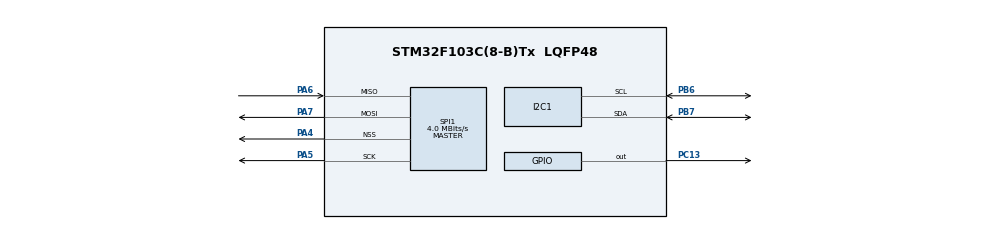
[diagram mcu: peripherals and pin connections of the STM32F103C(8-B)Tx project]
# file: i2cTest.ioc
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Mcu.Family=STM32F1
Mcu.Name=STM32F103C(8-B)Tx
Mcu.Package=LQFP48
NVIC.PriorityGroup=NVIC_PRIORITYGROUP_4
PA4.Mode=NSS_Signal_Hard_Output
PA4.Signal=SPI1_NSS
PA5.Mode=Full_Duplex_Master
PA5.Signal=SPI1_SCK
PA6.Mode=Full_Duplex_Master
PA6.Signal=SPI1_MISO
PA7.Mode=Full_Duplex_Master
PA7.Signal=SPI1_MOSI
PB6.Mode=I2C
PB6.Signal=I2C1_SCL
PB7.Mode=I2C
PB7.Signal=I2C1_SDA
PC13-TAMPER-RTC.Signal=GPIO_Output
ProjectManager.HeapSize=0x200
ProjectManager.StackSize=0x400
ProjectManager.TargetToolchain=STM32CubeIDE
RCC.APB1Freq_Value=8000000
RCC.APB2Freq_Value=8000000
SPI1.CalculateBaudRate=4.0 MBits/s
SPI1.Direction=SPI_DIRECTION_2LINES
SPI1.Mode=SPI_MODE_MASTER
SPI1.VirtualNSS=VM_NSSHARD
SPI1.VirtualType=VM_MASTER
VP_SYS_VS_ND.Mode=No_Debug
board=custom

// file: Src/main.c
/* USER CODE BEGIN Header */
/**
  ******************************************************************************
  * @file           : main.c
  * @brief          : Main program body
  ******************************************************************************
  * @attention
  *
  * Copyright (c) 2023 STMicroelectronics.
  * All rights reserved.
  *
  * This software is licensed under terms that can be found in the LICENSE file
  * in the root directory of this software component.
  * If no LICENSE file comes with this software, it is provided AS-IS.
  *
  ******************************************************************************
  */
/* USER CODE END Header */
#include "main.h"

/* USER CODE BEGIN Includes */
#include "ssd1306_fonts.h"
#include "ssd1306_tests.h"
#include "ssd1306.h"
#include <stdlib.h>
#include <stdio.h>
/* USER CODE END Includes */

I2C_HandleTypeDef hi2c1;

SPI_HandleTypeDef hspi1;

void SystemClock_Config(void);
static void MX_GPIO_Init(void);
static void MX_I2C1_Init(void);
static void MX_SPI1_Init(void);

int main(void)
{

  /* MCU Configuration--------------------------------------------------------*/

  /* Reset of all peripherals, Initializes the Flash interface and the Systick. */
  HAL_Init();

  /* Configure the system clock */
  SystemClock_Config();

  /* Initialize all configured peripherals */
  MX_GPIO_Init();
  MX_I2C1_Init();
  MX_SPI1_Init();
  /* USER CODE BEGIN 2 */
  char welcoming[] = "Welcome";
  ssd1306_Init();
  ssd1306_Fill(0x01);
  ssd1306_SetCursor(25, 20);
  ssd1306_WriteString(welcoming, Font_11x18, 0x00);
  ssd1306_UpdateScreen();
  HAL_Delay(1500);
  ssd1306_Fill(0x00);
  ssd1306_UpdateScreen();

  uint8_t getTemp = 0xE3;
  uint8_t *getTempP = &getTemp;

  uint8_t writeToReg = 0xE6;
  uint8_t *writeToRegP = &writeToReg;

  uint8_t readFromReg = 0xE7;
  uint8_t *readFromRegP = &readFromReg;

  uint8_t temp = 99;
  uint8_t *tempP = &temp;

  uint8_t restartSensor = 0xFE;
  uint8_t *restartSensorP = &restartSensor;

  char tempString[20];

  /* USER CODE END 2 */

  /* Infinite loop */
  while (1)
  {

  }
}

void SystemClock_Config(void)
{
  RCC_OscInitTypeDef RCC_OscInitStruct = {0};
  RCC_ClkInitTypeDef RCC_ClkInitStruct = {0};

  /** Initializes the RCC Oscillators according to the specified parameters
  * in the RCC_OscInitTypeDef structure.
  */
  RCC_OscInitStruct.OscillatorType = RCC_OSCILLATORTYPE_HSI;
  RCC_OscInitStruct.HSIState = RCC_HSI_ON;
  RCC_OscInitStruct.HSICalibrationValue = RCC_HSICALIBRATION_DEFAULT;
  RCC_OscInitStruct.PLL.PLLState = RCC_PLL_NONE;
  if (HAL_RCC_OscConfig(&RCC_OscInitStruct) != HAL_OK)
  {
    Error_Handler();
  }

  /** Initializes the CPU, AHB and APB buses clocks
  */
  RCC_ClkInitStruct.ClockType = RCC_CLOCKTYPE_HCLK|RCC_CLOCKTYPE_SYSCLK
                              |RCC_CLOCKTYPE_PCLK1|RCC_CLOCKTYPE_PCLK2;
  RCC_ClkInitStruct.SYSCLKSource = RCC_SYSCLKSOURCE_HSI;
  RCC_ClkInitStruct.AHBCLKDivider = RCC_SYSCLK_DIV1;
  RCC_ClkInitStruct.APB1CLKDivider = RCC_HCLK_DIV1;
  RCC_ClkInitStruct.APB2CLKDivider = RCC_HCLK_DIV1;

  if (HAL_RCC_ClockConfig(&RCC_ClkInitStruct, FLASH_LATENCY_0) != HAL_OK)
  {
    Error_Handler();
  }
}

static void MX_I2C1_Init(void)
{

  hi2c1.Instance = I2C1;
  hi2c1.Init.ClockSpeed = 100000;
  hi2c1.Init.DutyCycle = I2C_DUTYCYCLE_2;
  hi2c1.Init.OwnAddress1 = 0;
  hi2c1.Init.AddressingMode = I2C_ADDRESSINGMODE_7BIT;
  hi2c1.Init.DualAddressMode = I2C_DUALADDRESS_DISABLE;
  hi2c1.Init.OwnAddress2 = 0;
  hi2c1.Init.GeneralCallMode = I2C_GENERALCALL_DISABLE;
  hi2c1.Init.NoStretchMode = I2C_NOSTRETCH_DISABLE;
  if (HAL_I2C_Init(&hi2c1) != HAL_OK)
  {
    Error_Handler();
  }

}

static void MX_SPI1_Init(void)
{

  /* SPI1 parameter configuration*/
  hspi1.Instance = SPI1;
  hspi1.Init.Mode = SPI_MODE_MASTER;
  hspi1.Init.Direction = SPI_DIRECTION_2LINES;
  hspi1.Init.DataSize = SPI_DATASIZE_8BIT;
  hspi1.Init.CLKPolarity = SPI_POLARITY_LOW;
  hspi1.Init.CLKPhase = SPI_PHASE_1EDGE;
  hspi1.Init.NSS = SPI_NSS_HARD_OUTPUT;
  hspi1.Init.BaudRatePrescaler = SPI_BAUDRATEPRESCALER_2;
  hspi1.Init.FirstBit = SPI_FIRSTBIT_MSB;
  hspi1.Init.TIMode = SPI_TIMODE_DISABLE;
  hspi1.Init.CRCCalculation = SPI_CRCCALCULATION_DISABLE;
  hspi1.Init.CRCPolynomial = 10;
  if (HAL_SPI_Init(&hspi1) != HAL_OK)
  {
    Error_Handler();
  }

}

static void MX_GPIO_Init(void)
{
  GPIO_InitTypeDef GPIO_InitStruct = {0};

  /* GPIO Ports Clock Enable */
  __HAL_RCC_GPIOC_CLK_ENABLE();
  __HAL_RCC_GPIOA_CLK_ENABLE();
  __HAL_RCC_GPIOB_CLK_ENABLE();

  /*Configure GPIO pin Output Level */
  HAL_GPIO_WritePin(GPIOC, GPIO_PIN_13, GPIO_PIN_RESET);

  /*Configure GPIO pin : PC13 */
  GPIO_InitStruct.Pin = GPIO_PIN_13;
  GPIO_InitStruct.Mode = GPIO_MODE_OUTPUT_PP;
  GPIO_InitStruct.Pull = GPIO_NOPULL;
  GPIO_InitStruct.Speed = GPIO_SPEED_FREQ_LOW;
  HAL_GPIO_Init(GPIOC, &GPIO_InitStruct);

}

void Error_Handler(void)
{
  __disable_irq();
  while (1)
  {
  }
}
